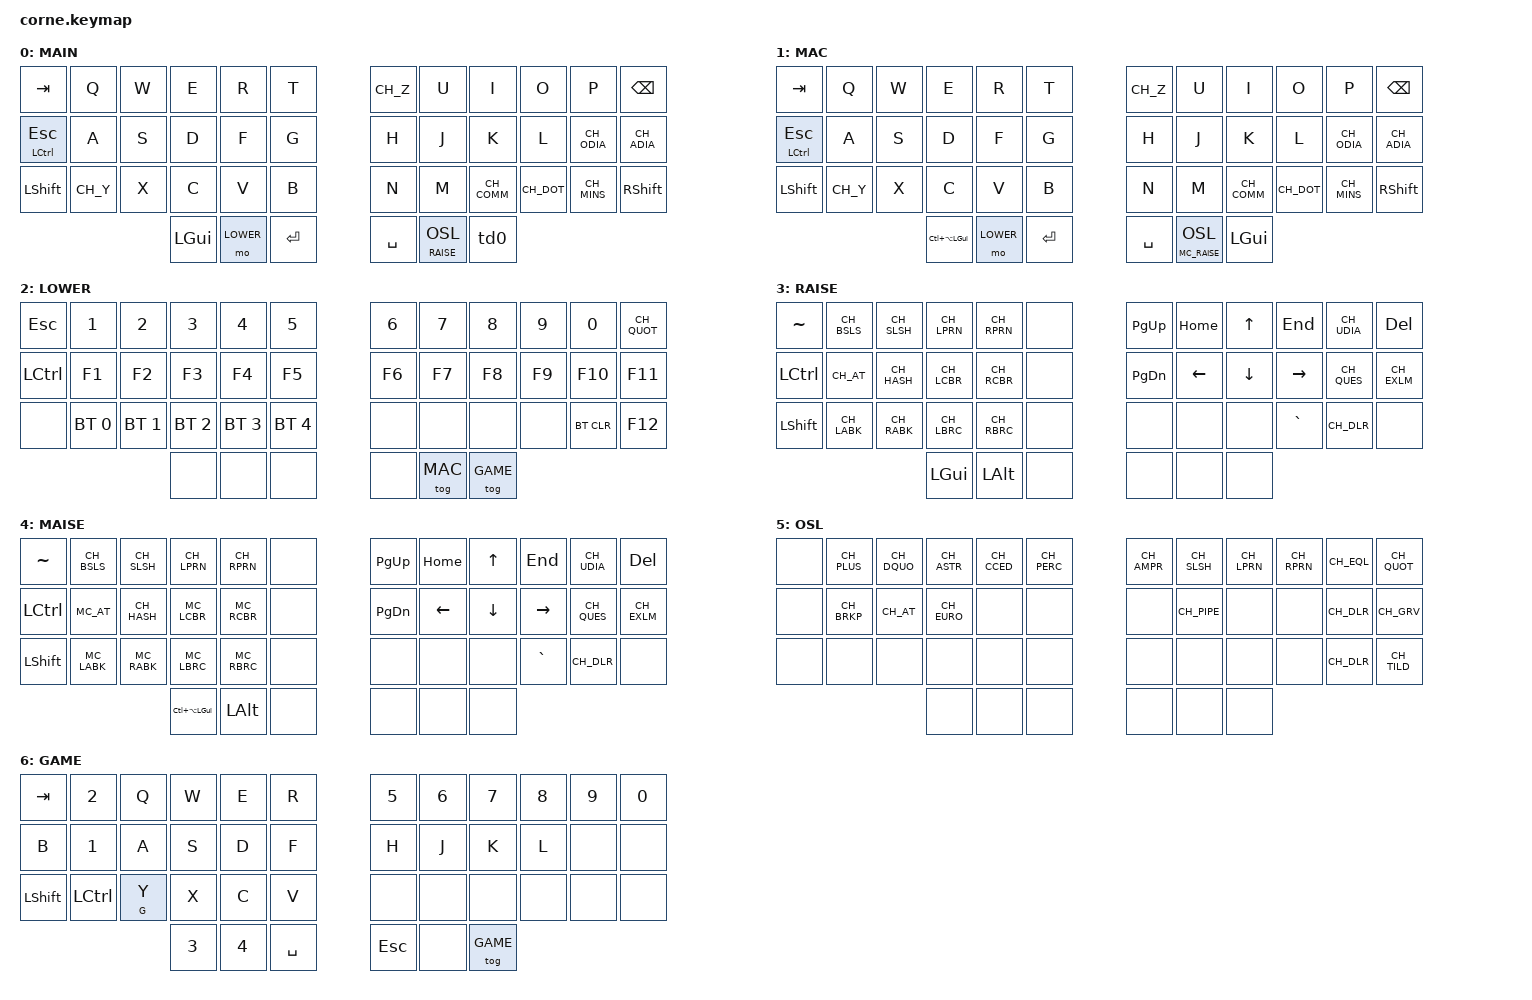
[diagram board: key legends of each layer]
#include "keymap_swiss_de.h"

#define DEFAULT 0
#define MAC   1
#define LOWER 2
#define RAISE 3
#define MC_RAISE 4
#define OSL   5
#define GAME  6
#define HYP_MAC LC(LA(LGUI))

/ {
  chosen {
    zmk,matrix_transform = &default_transform;
    //zmk,matrix_transform = &five_column_transform;
  };
};

&mt {
    tapping-term-ms = <150>;
};

/ {
        behaviors {
          mo_sl: behavior_mo_sl {
              compatible = "zmk,behavior-hold-tap";
              label = "mo_sl";
              #binding-cells = <2>;
              flavor = "hold-preferred";
              tapping-term-ms = <150>;
              bindings = <&mo>, <&sl>;
          };
          kp_sl: behavior_kp_sl {
              compatible = "zmk,behavior-hold-tap";
              label = "kp_kp";
              #binding-cells = <2>;
              flavor = "hold-preferred";
              tapping-term-ms = <150>;
              bindings = <&kp>, <&sl>;
          };
          td0: td_alt_dance {
              compatible = "zmk,behavior-tap-dance";
              label = "ALTD";
              #binding-cells = <0>;
              tapping-term-ms = <150>;
              bindings = <&kp LALT>, <&kp RALT>;
          };
        };

        keymap {
                compatible = "zmk,keymap";

                default_layer {
                        label = "MAIN";
                        bindings = <
//,------------------------------------------------------------------------.      ,-----------------------------------------------------------------------.
  &kp TAB      &kp Q        &kp W        &kp E        &kp R        &kp T           &kp CH_Z    &kp U        &kp I      &kp O       &kp P        &kp BSPC
//|-----------+------------+------------+------------+------------+--------|      |-----------+------------+----------+-----------+------------+----------|
  &mt LCTRL ESC  &kp A        &kp S        &kp D        &kp F        &kp G           &kp H       &kp J        &kp K      &kp L       &kp CH_ODIA  &kp CH_ADIA
//|-----------+------------+------------+------------+------------+--------|      |-----------+------------+----------+-----------+------------+----------|
  &kp LSHFT    &kp CH_Y     &kp X        &kp C        &kp V        &kp B           &kp N       &kp M        &kp CH_COMM &kp CH_DOT &kp CH_MINS  &kp RSHIFT
//|-----------+------------+------------+------------+------------+--------|      |-----------+------------+----------+-----------+------------+----------|
                                         &kp LGUI     &mo LOWER    &kp RET         &kp SPACE   &mo_sl RAISE OSL &td0
                                      //`----------------------------------'      `-----------------------------------'
                        >;
                };
                MAC {
                        label = "MAC";
                        bindings = <
//,------------------------------------------------------------------------.      ,-----------------------------------------------------------------------.
  &kp TAB      &kp Q        &kp W        &kp E        &kp R        &kp T           &kp CH_Z    &kp U        &kp I      &kp O       &kp P        &kp BSPC
//|-----------+------------+------------+------------+------------+--------|      |-----------+------------+----------+-----------+------------+----------|
  &mt LCTRL ESC &kp A       &kp S        &kp D        &kp F        &kp G           &kp H       &kp J        &kp K      &kp L       &kp CH_ODIA  &kp CH_ADIA
//|-----------+------------+------------+------------+------------+--------|      |-----------+------------+----------+-----------+------------+----------|
  &kp LSHFT    &kp CH_Y     &kp X        &kp C        &kp V        &kp B           &kp N       &kp M        &kp CH_COMM &kp CH_DOT &kp CH_MINS  &kp RSHIFT
//|-----------+------------+------------+------------+------------+--------|      |-----------+------------+----------+-----------+------------+----------|
                                         &kp HYP_MAC  &mo LOWER    &kp RET         &kp SPACE   &mo_sl MC_RAISE OSL &kp LGUI
                                      //`----------------------------------'      `-----------------------------------'
                        >;
                };
                lower_layer {
                        label = "LOWER";
                        bindings = <
//,------------------------------------------------------------------------.      ,-----------------------------------------------------------------------.
  &kp ESC      &kp N1       &kp N2       &kp N3       &kp N4       &kp N5          &kp N6      &kp N7       &kp N8     &kp N9      &kp N0       &kp CH_QUOT
//|-----------+------------+------------+------------+------------+--------|      |-----------+------------+----------+-----------+------------+----------|
  &kp LCTRL    &kp F1       &kp F2       &kp F3       &kp F4       &kp F5          &kp F6      &kp F7       &kp F8     &kp F9      &kp F10      &kp F11
//|-----------+------------+------------+------------+------------+--------|      |-----------+------------+----------+-----------+------------+----------|
  &none        &bt BT_SEL 0 &bt BT_SEL 1 &bt BT_SEL 2 &bt BT_SEL 3 &bt BT_SEL 4    &none       &none        &none      &none       &bt BT_CLR   &kp F12
//|-----------+------------+------------+------------+------------+--------|      |-----------+------------+----------+-----------+------------+----------|
                          	             &none        &none        &none           &none       &tog MAC &tog GAME
                                      //`----------------------------------'      `-----------------------------------'
                        >;
                };
                raise_layer {
                        label = "RAISE";
                        bindings = <
//,------------------------------------------------------------------------.      ,-----------------------------------------------------------------------.
  &kp TILDE    &kp CH_BSLS  &kp CH_SLSH  &kp CH_LPRN  &kp CH_RPRN  &none           &kp PG_UP    &kp HOME     &kp UP      &kp END    &kp CH_UDIA  &kp DEL
//|-----------+------------+------------+------------+------------+--------|      |-----------+------------+----------+-----------+------------+----------|
  &kp LCTRL    &kp CH_AT    &kp CH_HASH  &kp CH_LCBR  &kp CH_RCBR  &none           &kp PG_DN    &kp LEFT     &kp DOWN    &kp RIGHT  &kp CH_QUES  &kp CH_EXLM
//|-----------+------------+------------+------------+------------+--------|      |-----------+-----------+------------+----------+------------+----------|
  &kp LSHFT    &kp CH_LABK  &kp CH_RABK  &kp CH_LBRC  &kp CH_RBRC  &none           &none        &none        &none       &kp GRAVE  &kp CH_DLR   &none
//|-----------+------------+------------+------------+------------+--------|      |-----------+------------+----------+-----------+------------+----------|
                                         &kp LGUI     &kp LALT     &none           &none       &none        &none
                                      //`----------------------------------'      `-----------------------------------'
                        >;
                };
                raise_mac {
                        label = "MAISE";
                        bindings = <
//,------------------------------------------------------------------------.      ,-----------------------------------------------------------------------.
  &kp TILDE    &kp CH_BSLS  &kp CH_SLSH  &kp CH_LPRN  &kp CH_RPRN  &none           &kp PG_UP    &kp HOME     &kp UP      &kp END    &kp CH_UDIA  &kp DEL
//|-----------+------------+------------+------------+------------+--------|      |-----------+------------+----------+-----------+------------+----------|
  &kp LCTRL    &kp MC_AT    &kp CH_HASH  &kp MC_LCBR  &kp MC_RCBR  &none           &kp PG_DN    &kp LEFT     &kp DOWN    &kp RIGHT  &kp CH_QUES  &kp CH_EXLM
//|-----------+------------+------------+------------+------------+--------|      |-----------+-----------+------------+----------+------------+----------|
  &kp LSHFT    &kp MC_LABK  &kp MC_RABK  &kp MC_LBRC  &kp MC_RBRC  &none           &none        &none        &none       &kp GRAVE  &kp CH_DLR   &none
//|-----------+------------+------------+------------+------------+--------|      |-----------+------------+----------+-----------+------------+----------|
                                         &kp HYP_MAC  &kp LALT     &none           &none       &none        &none
                                      //`----------------------------------'      `-----------------------------------'
                        >;
                };
                OSL {
                        label = "OSL";
                        bindings = <
//,------------------------------------------------------------------------.      ,-----------------------------------------------------------------------.
  &none        &kp CH_PLUS  &kp CH_DQUO  &kp CH_ASTR  &kp CH_CCED  &kp CH_PERC     &kp CH_AMPR &kp CH_SLSH  &kp CH_LPRN &kp CH_RPRN &kp CH_EQL   &kp CH_QUOT
//|-----------+------------+------------+------------+------------+--------|      |-----------+------------+----------+-----------+------------+----------|
  &none        &kp CH_BRKP  &kp CH_AT    &kp CH_EURO  &none        &none           &none       &kp CH_PIPE &none        &none       &kp CH_DLR   &kp CH_GRV
//|-----------+------------+------------+------------+------------+--------|      |-----------+------------+----------+-----------+------------+----------|
  &none        &none        &none        &none        &none        &none           &none       &none         &none      &none       &kp CH_DLR   &kp CH_TILD
//|-----------+------------+------------+------------+------------+--------|      |-----------+------------+----------+-----------+------------+----------|
                                         &none        &none        &none           &none       &none         &none
                                      //`----------------------------------'      `-----------------------------------'
                        >;
                };
                GAME {
                        label = "GAME";
                        bindings = <
//,------------------------------------------------------------------------.      ,-----------------------------------------------------------------------.
  &kp TAB      &kp N2       &kp Q        &kp W        &kp E        &kp R           &kp N5      &kp N6       &kp N7     &kp N8      &kp N9       &kp N0
//|-----------+------------+------------+------------+------------+--------|      |-----------+------------+----------+-----------+------------+----------|
  &kp B        &kp N1       &kp A        &kp S        &kp D        &kp F           &kp H       &kp J        &kp K      &kp L       &none        &none
//|-----------+------------+------------+------------+------------+--------|      |-----------+------------+----------+-----------+------------+----------|
  &kp LSHFT    &kp LCTRL    &mt G Y      &kp X        &kp C        &kp V           &none       &none        &none      &none       &none        &none
//|-----------+------------+------------+------------+------------+--------|      |-----------+------------+----------+-----------+------------+----------|
                                         &kp N3       &kp N4       &kp SPACE       &kp ESC     &none        &tog GAME
                                      //`----------------------------------'      `-----------------------------------'
                        >;
                };
        };
};

    
